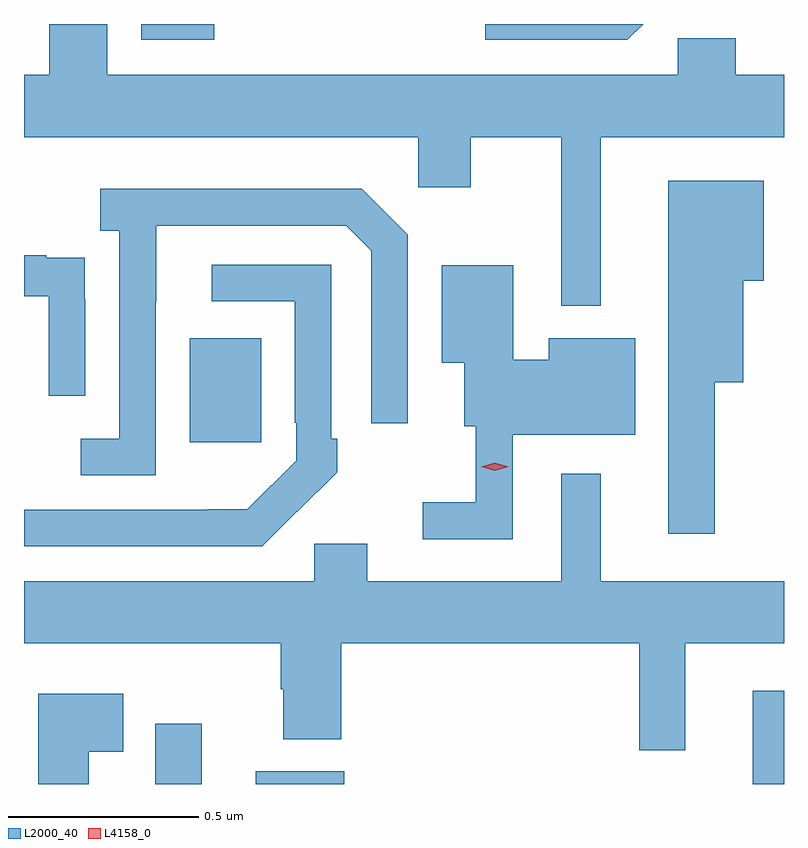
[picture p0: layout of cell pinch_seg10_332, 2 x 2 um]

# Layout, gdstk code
import gdstk
lib = gdstk.Library(unit=1e-6, precision=1e-09)
def R(c, l, rs):  # rectangles x0, y0, x1, y1
    for r in rs: c.add(gdstk.rectangle(r[:2], r[2:], *l))
def P(c, l, *ps):  # polygons
    for p in ps: c.add(gdstk.Polygon(p, *l))
L2000_40 = (2000, 40)
L4158_0 = (4158, 0)

pinch_seg10_332 = lib.new_cell('pinch_seg10_332')
R(pinch_seg10_332, L2000_40, [(394.763,1287.958,394.885,1288.117), (395.027,1287.958,395.26,1287.991), (396.335,1287.958,396.417,1288.204), (394.853,1288.857,395.041,1289.131), (394.725,1289.916,394.917,1289.958)])
P(pinch_seg10_332, L2000_40, [(395.935,1289.66),(396.417,1289.66),(396.417,1289.824),(396.29,1289.824),(396.29,1289.92),(396.138,1289.92),(396.138,1289.824),(394.636,1289.824),(394.636,1289.958),(394.484,1289.958),(394.484,1289.824),(394.417,1289.824),(394.417,1289.66),(395.454,1289.66),(395.454,1289.529),(395.593,1289.529),(395.593,1289.66),(395.831,1289.66),(395.831,1289.216),(395.935,1289.216)],
  [(396.047,1289.958),(395.631,1289.958),(395.631,1289.916),(396.004,1289.916)],
  [(396.235,1289.015),(396.31,1289.015),(396.31,1289.282),(396.364,1289.282),(396.364,1289.545),(396.113,1289.545),(396.113,1288.617),(396.235,1288.617)],
  [(394.764,1289.227),(394.765,1289.227),(394.765,1289.427),(395.265,1289.427),(395.331,1289.361),(395.331,1288.908),(395.427,1288.908),(395.427,1289.403),(395.306,1289.524),(394.617,1289.524),(394.617,1289.414),(394.668,1289.414),(394.668,1288.866),(394.566,1288.866),(394.566,1288.77),(394.764,1288.77)],
  [(394.578,1289.234),(394.577,1289.234),(394.577,1289.343),(394.475,1289.343),(394.475,1289.35),(394.417,1289.35),(394.417,1289.241),(394.482,1289.241),(394.482,1288.98),(394.578,1288.98)],
  [(395.135,1288.675),(395.136,1288.674),(395.241,1288.779),(395.241,1288.867),(395.226,1288.867),(395.226,1289.325),(394.911,1289.325),(394.911,1289.229),(395.13,1289.229),(395.13,1288.909),(395.133,1288.909),(395.133,1288.809),(395.005,1288.681),(394.901,1288.681),(394.901,1288.68),(394.417,1288.68),(394.417,1288.584),(395.044,1288.584)],
  [(395.703,1288.877),(396.025,1288.877),(396.025,1289.131),(395.798,1289.131),(395.798,1289.074),(395.704,1289.074),(395.704,1289.323),(395.516,1289.323),(395.516,1289.066),(395.576,1289.066),(395.576,1288.899),(395.606,1288.899),(395.606,1288.7),(395.466,1288.7),(395.466,1288.602),(395.703,1288.602)],
  [(396.157,1288.328),(396.417,1288.328),(396.417,1288.492),(395.935,1288.492),(395.935,1288.774),(395.831,1288.774),(395.831,1288.492),(395.32,1288.492),(395.32,1288.59),(395.181,1288.59),(395.181,1288.492),(394.417,1288.492),(394.417,1288.328),(395.092,1288.328),(395.092,1288.208),(395.099,1288.208),(395.099,1288.076),(395.252,1288.076),(395.252,1288.328),(396.036,1288.328),(396.036,1288.047),(396.157,1288.047)],
  [(394.588,1288.043),(394.678,1288.043),(394.678,1288.195),(394.454,1288.195),(394.454,1287.958),(394.588,1287.958)])
P(pinch_seg10_332, L4158_0, [(395.656,1288.783),(395.62,1288.793),(395.62,1288.793),(395.62,1288.793),(395.656,1288.803),(395.692,1288.793),(395.692,1288.793),(395.692,1288.793)])

lib.write_gds('pinch_seg10_332.gds')
